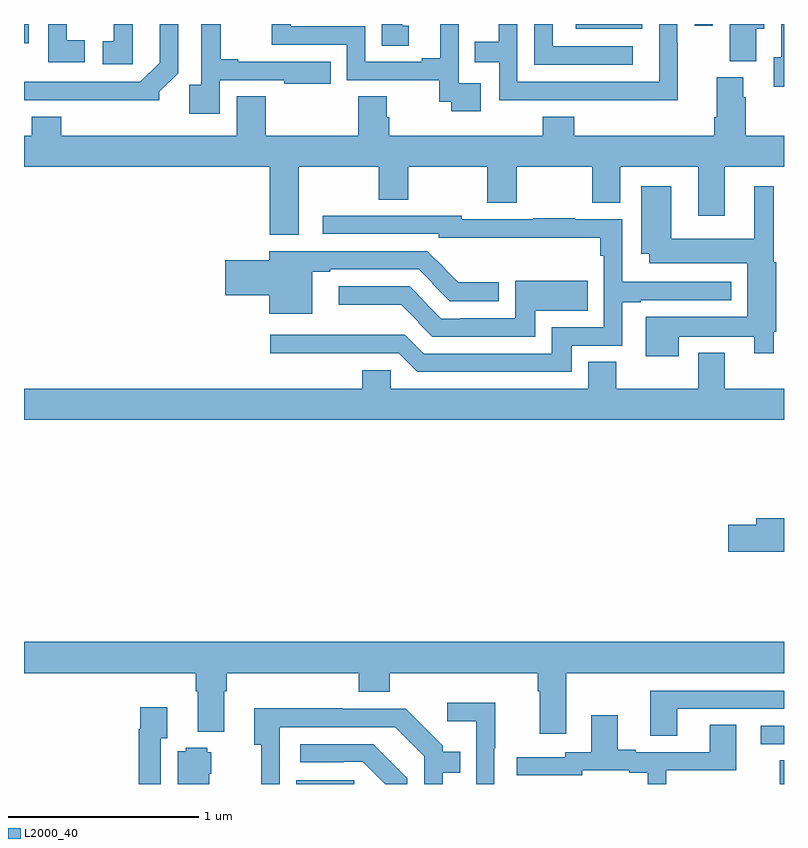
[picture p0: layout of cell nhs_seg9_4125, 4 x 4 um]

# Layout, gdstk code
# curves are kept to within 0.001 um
import gdstk
lib = gdstk.Library(unit=1e-6, precision=1e-09)
def R(c, l, rs):  # rectangles x0, y0, x1, y1
    for r in rs: c.add(gdstk.rectangle(r[:2], r[2:], *l))
def P(c, l, *ps):  # polygons
    for p in ps: c.add(gdstk.Polygon(p, *l))
L2000_40 = (2000, 40)

nhs_seg9_4125 = lib.new_cell('nhs_seg9_4125')
R(nhs_seg9_4125, L2000_40, [(348.434,1198.5,348.739,1198.521), (350.977,1198.5,351,1198.625), (350.877,1198.71,351,1198.806), (347,1202.399,347.026,1202.5), (349.905,1202.474,350.254,1202.5), (350.529,1202.49,350.625,1202.5)])
P(nhs_seg9_4125, L2000_40, [(348.03,1202.205),(348.371,1202.205),(348.371,1202.186),(348.614,1202.186),(348.614,1202.301),(348.127,1202.301),(348.127,1202.314),(348.035,1202.314),(348.035,1202.5),(347.934,1202.5),(347.934,1202.179),(347.869,1202.179),(347.869,1202.028),(348.03,1202.028)],
  [(349.024,1202.49),(348.991,1202.49),(348.991,1202.5),(348.884,1202.5),(348.884,1202.386),(349.024,1202.386)],
  [(349.405,1202.187),(349.287,1202.187),(349.287,1202.491),(349.289,1202.491),(349.289,1202.5),(349.19,1202.5),(349.19,1202.321),(349.094,1202.321),(349.094,1202.301),(348.795,1202.301),(348.795,1202.487),(348.405,1202.487),(348.405,1202.5),(348.304,1202.5),(348.304,1202.391),(348.699,1202.391),(348.699,1202.205),(349.186,1202.205),(349.186,1202.091),(349.249,1202.091),(349.249,1202.04),(349.405,1202.04)],
  [(350.203,1202.382),(349.782,1202.382),(349.782,1202.5),(349.686,1202.5),(349.686,1202.286),(350.203,1202.286)],
  [(347.32,1202.414),(347.226,1202.414),(347.226,1202.5),(347.127,1202.5),(347.127,1202.298),(347.32,1202.298)],
  [(350.854,1202.474),(350.896,1202.474),(350.896,1202.5),(350.714,1202.5),(350.714,1202.305),(350.854,1202.305)],
  [(351,1202.5),(350.985,1202.5),(350.985,1202.325),(350.945,1202.325),(350.945,1202.169),(351,1202.169)],
  [(347.712,1202.143),(347.811,1202.242),(347.811,1202.5),(347.714,1202.5),(347.714,1202.297),(347.613,1202.196),(347,1202.196),(347,1202.1),(347.278,1202.1),(347.278,1202.099),(347.712,1202.099)],
  [(347.572,1202.5),(347.473,1202.5),(347.473,1202.409),(347.415,1202.409),(347.415,1202.289),(347.572,1202.289)],
  [(350.441,1202.402),(350.439,1202.402),(350.439,1202.5),(350.343,1202.5),(350.343,1202.196),(349.596,1202.196),(349.596,1202.5),(349.499,1202.5),(349.499,1202.407),(349.372,1202.407),(349.372,1202.298),(349.5,1202.298),(349.5,1202.1),(349.978,1202.1),(349.978,1202.099),(350.441,1202.099)],
  [(348.445,1201.748),(348.868,1201.748),(348.868,1201.576),(349.023,1201.576),(349.023,1201.748),(349.438,1201.748),(349.438,1201.558),(349.593,1201.558),(349.593,1201.748),(349.99,1201.748),(349.99,1201.558),(350.137,1201.558),(350.137,1201.748),(350.549,1201.748),(350.549,1201.491),(350.689,1201.491),(350.689,1201.748),(351,1201.748),(351,1201.912),(350.798,1201.912),(350.798,1202.114),(350.785,1202.114),(350.785,1202.22),(350.645,1202.22),(350.645,1202.008),(350.633,1202.008),(350.633,1201.912),(349.895,1201.912),(349.895,1202.011),(349.73,1202.011),(349.73,1201.912),(348.923,1201.912),(348.923,1202.01),(348.91,1202.01),(348.91,1202.12),(348.758,1202.12),(348.758,1201.912),(348.272,1201.912),(348.272,1202.12),(348.119,1202.12),(348.119,1201.912),(347.195,1201.912),(347.195,1202.011),(347.042,1202.011),(347.042,1201.912),(347,1201.912),(347,1201.748),(348.293,1201.748),(348.293,1201.391),(348.445,1201.391)],
  [(350.446,1200.854),(350.843,1200.854),(350.843,1200.768),(350.947,1200.768),(350.947,1200.88),(350.96,1200.88),(350.96,1201.245),(350.947,1201.245),(350.947,1201.645),(350.843,1201.645),(350.843,1201.369),(350.407,1201.369),(350.407,1201.645),(350.249,1201.645),(350.249,1201.292),(350.291,1201.292),(350.291,1201.241),(350.807,1201.241),(350.807,1200.958),(350.273,1200.958),(350.273,1200.752),(350.446,1200.752)],
  [(349.882,1200.807),(350.148,1200.807),(350.148,1201.035),(350.245,1201.035),(350.245,1201.047),(350.722,1201.047),(350.722,1201.143),(350.149,1201.143),(350.148,1201.473),(349.901,1201.473),(349.901,1201.478),(349.681,1201.478),(349.681,1201.473),(349.305,1201.473),(349.305,1201.491),(348.573,1201.491),(348.573,1201.395),(349.182,1201.395),(349.182,1201.375),(350.032,1201.375),(350.032,1201.28),(350.052,1201.28),(350.052,1200.903),(349.778,1200.903),(349.778,1200.765),(349.104,1200.765),(349.005,1200.864),(348.297,1200.864),(348.297,1200.767),(348.972,1200.768),(349.071,1200.669),(349.882,1200.669)],
  [(348.517,1201.197),(348.613,1201.197),(348.613,1201.209),(349.077,1201.209),(349.15,1201.136),(349.148,1201.134),(349.241,1201.041),(349.498,1201.041),(349.498,1201.14),(349.286,1201.14),(349.123,1201.305),(348.29,1201.305),(348.29,1201.256),(348.06,1201.256),(348.06,1201.073),(348.29,1201.073),(348.29,1200.974),(348.517,1200.974)],
  [(349.69,1200.992),(349.967,1200.992),(349.967,1201.15),(349.586,1201.15),(349.586,1200.951),(349.297,1200.951),(349.297,1200.948),(349.197,1200.948),(349.121,1201.024),(349.123,1201.026),(349.03,1201.119),(348.657,1201.119),(348.657,1201.022),(348.985,1201.022),(349.077,1200.93),(349.075,1200.928),(349.148,1200.855),(349.69,1200.855)],
  [(351,1200.58),(350.689,1200.58),(350.689,1200.769),(350.549,1200.769),(350.549,1200.58),(350.118,1200.58),(350.118,1200.722),(349.97,1200.722),(349.97,1200.58),(348.93,1200.58),(348.93,1200.678),(348.779,1200.678),(348.779,1200.58),(347,1200.58),(347,1200.416),(351,1200.416)],
  [(351,1199.9),(350.855,1199.9),(350.855,1199.864),(350.706,1199.864),(350.706,1199.722),(351,1199.722)],
  [(349.855,1199.084),(351,1199.084),(351,1199.248),(347,1199.248),(347,1199.084),(347.903,1199.084),(347.903,1198.988),(347.915,1198.988),(347.915,1198.775),(348.055,1198.775),(348.055,1198.988),(348.068,1198.988),(348.068,1199.084),(348.761,1199.084),(348.761,1198.985),(348.926,1198.985),(348.926,1199.084),(349.703,1199.084),(349.703,1198.988),(349.715,1198.988),(349.715,1198.764),(349.855,1198.764)],
  [(350.437,1198.896),(351,1198.896),(351,1198.992),(350.297,1198.992),(350.297,1198.753),(350.437,1198.753)],
  [(349.476,1198.688),(349.479,1198.688),(349.479,1198.927),(349.227,1198.927),(349.227,1198.829),(349.38,1198.829),(349.38,1198.5),(349.476,1198.5)],
  [(347.721,1198.742),(347.755,1198.742),(347.755,1198.903),(347.613,1198.903),(347.613,1198.79),(347.605,1198.79),(347.605,1198.5),(347.721,1198.5)],
  [(348.345,1198.8),(348.954,1198.8),(349.107,1198.647),(349.107,1198.5),(349.204,1198.5),(349.204,1198.56),(349.295,1198.56),(349.295,1198.669),(349.203,1198.669),(349.203,1198.701),(349.008,1198.896),(348.677,1198.896),(348.677,1198.898),(348.212,1198.898),(348.212,1198.706),(348.249,1198.706),(348.249,1198.5),(348.345,1198.5)],
  [(350.379,1198.572),(350.749,1198.572),(350.749,1198.811),(350.609,1198.811),(350.609,1198.668),(350.221,1198.668),(350.221,1198.681),(350.125,1198.681),(350.125,1198.861),(349.985,1198.861),(349.985,1198.668),(349.848,1198.668),(349.848,1198.641),(349.593,1198.641),(349.593,1198.545),(349.938,1198.545),(349.938,1198.572),(350.186,1198.572),(350.186,1198.56),(350.282,1198.56),(350.282,1198.5),(350.379,1198.5)],
  [(349.017,1198.531),(348.838,1198.71),(348.453,1198.71),(348.453,1198.614),(348.683,1198.614),(348.683,1198.617),(348.783,1198.617),(348.9,1198.5),(349.017,1198.5)],
  [(347.974,1198.554),(347.986,1198.554),(347.986,1198.668),(347.964,1198.668),(347.964,1198.69),(347.85,1198.69),(347.85,1198.672),(347.81,1198.672),(347.81,1198.5),(347.974,1198.5)])

lib.write_gds('nhs_seg9_4125.gds')
